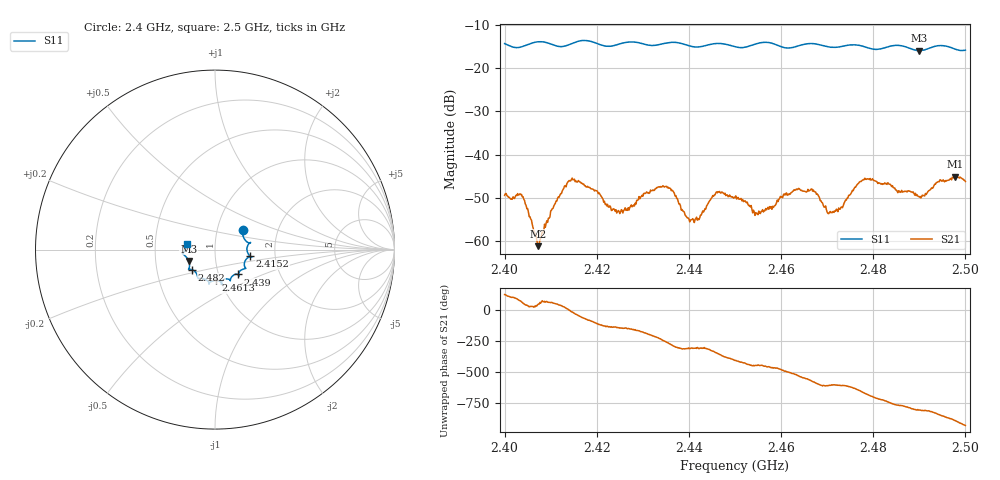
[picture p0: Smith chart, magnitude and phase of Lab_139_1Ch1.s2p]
# Hz S RI R 50
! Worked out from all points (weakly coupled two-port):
!   601 points, 2.4 GHz to 2.5 GHz, reference 50 ohm
!   highest |S21| = -45.10 dB at 2.4978 GHz (marker M1); lowest = -61.2 dB at 2.4073 GHz (marker M2)
!   lowest |S11| = -15.9 dB at 2.49 GHz (marker M3), VSWR 1.38, Z = 37 - j4.82 ohm
!   |S11| at or under -10 dB: start of sweep to end of sweep
!   S12 and S22 are empty: the file has one direction only
!   S11 on the Smith chart (normalised r, x): 2.4 GHz: 1.33, +0.31; 2.4152 GHz: 1.48, -0.11; 2.439 GHz: 1.24, -0.36; 2.4613 GHz: 0.96, -0.34; 2.482 GHz: 0.76, -0.18; 2.5 GHz: 0.73, +0.05
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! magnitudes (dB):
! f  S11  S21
! 2.4 GHz  -14.3  -49.4
! 2.4038 GHz  -15.0  -49.8
! 2.4073 GHz  -13.9  -61.2
! 2.4152 GHz  -14.1  -45.7
! 2.4167 GHz  -13.6  -46.7
! 2.4247 GHz  -14.5  -53.0
! 2.4333 GHz  -14.6  -47.5
! 2.4363 GHz  -14.0  -48.3
! 2.439 GHz  -14.5  -53.3
! 2.4417 GHz  -15.1  -54.5
! 2.4463 GHz  -14.3  -48.6
! 2.45 GHz  -15.0  -50.0
! 2.4548 GHz  -14.3  -53.6
! 2.4613 GHz  -15.3  -49.4
! 2.4667 GHz  -14.3  -48.0
! 2.4707 GHz  -15.1  -53.2
! 2.4777 GHz  -14.9  -45.9
! 2.482 GHz  -15.4  -46.9
! 2.4833 GHz  -15.0  -46.8
! 2.49 GHz  -15.9  -49.8
! 2.4978 GHz  -15.6  -45.1
! 2.5 GHz  -15.8  -46.2
